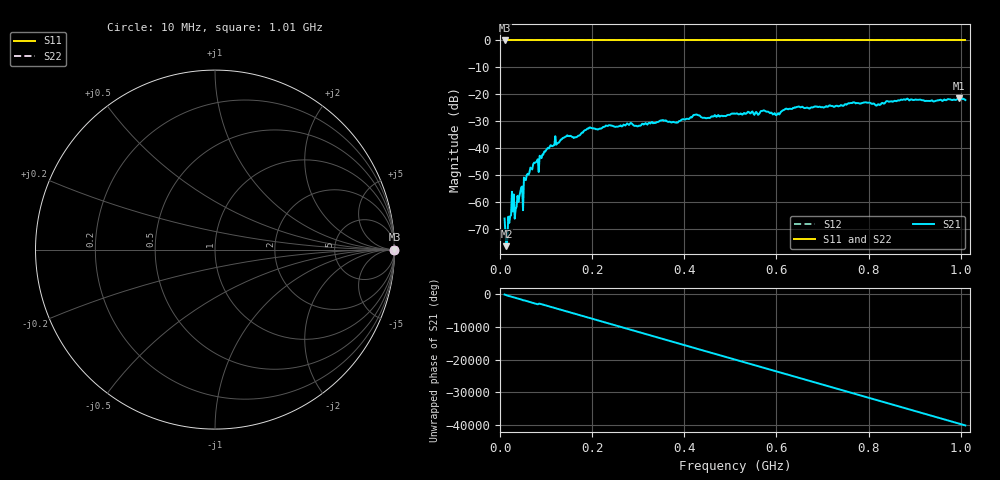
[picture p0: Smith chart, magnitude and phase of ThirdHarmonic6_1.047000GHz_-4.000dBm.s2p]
! 8/16/2025 9:11:00 AM
! C:\ANRITSUVNA\TEMP\TEMP.S2P
! CHANNEL.1
! TR.MEASUREMENT
! RAW.DATA
! RF.CORRECTION.OFF
! AVERAGING.OFF
! IF.BANDWIDTH: 5KHZ
! SWEEPTYPE:  FREQ.SWEEP(Linear)
! Reference Plane Port Info
! PORT:  PORT1  PORT2
! DISTANCE:  0  m  0  m
! TIME:  0  s  0  s
! PHASE.OFFSET:  0  deg.  0  deg.
! LOSS:  0  dB  0  dB
! REF.LOSS:  0  dB  0  dB
! REF.FREQ:  0  Hz  0  Hz
! Power Info
! POWER:  -20  dBm  -20  dBm
! EFF.POWER:  -20  dBm  -20  dBm
! SOURCE.ATTEN:  0  dB  0  dB
! TEST.ATTEN:  0  dB  0  dB
# GHZ S RI R 50.0
! FREQ.GHZ  S11RE  S11IM  S21RE  S21IM  S12RE  S12IM  S22RE  S22IM
!; PortSelection: Port_12
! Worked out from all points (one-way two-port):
!   501 points, 10 MHz to 1.01 GHz, reference 50 ohm
!   highest |S21| = -21.50 dB at 996 MHz (marker M1); lowest = -76.3 dB at 14 MHz (marker M2)
!   lowest |S11| = 0.0 dB at 10 MHz (marker M3)
!   |S11| at or under -10 dB: nowhere
!   |S22| runs from 0.0 to 0.0 dB; largest |S21 - S12| = 1.1
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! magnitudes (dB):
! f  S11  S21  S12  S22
! 10 MHz  0.0  -66.1  0.0  0.0
! 14 MHz  0.0  -76.3  0.0  0.0
! 18 MHz  0.0  -65.4  0.0  0.0
! 22 MHz  0.0  -65.3  0.0  0.0
! 26 MHz  0.0  -56.1  0.0  0.0
! 36 MHz  0.0  -61.7  0.0  0.0
! 42 MHz  0.0  -57.8  0.0  0.0
! 54 MHz  0.0  -51.6  0.0  0.0
! 56 MHz  0.0  -51.8  0.0  0.0
! 76 MHz  0.0  -45.4  0.0  0.0
! 116 MHz  0.0  -39.0  0.0  0.0
! 178 MHz  0.0  -34.2  0.0  0.0
! 194 MHz  0.0  -32.3  0.0  0.0
! 344 MHz  0.0  -30.2  0.0  0.0
! 510 MHz  0.0  -27.2  0.0  0.0
! 572 MHz  0.0  -26.0  0.0  0.0
! 602 MHz  0.0  -27.2  0.0  0.0
! 620 MHz  0.0  -25.3  0.0  0.0
! 678 MHz  0.0  -24.8  0.0  0.0
! 844 MHz  0.0  -22.8  0.0  0.0
! 996 MHz  0.0  -21.5  0.0  0.0
! 1.01 GHz  0.0  -22.1  0.0  0.0
